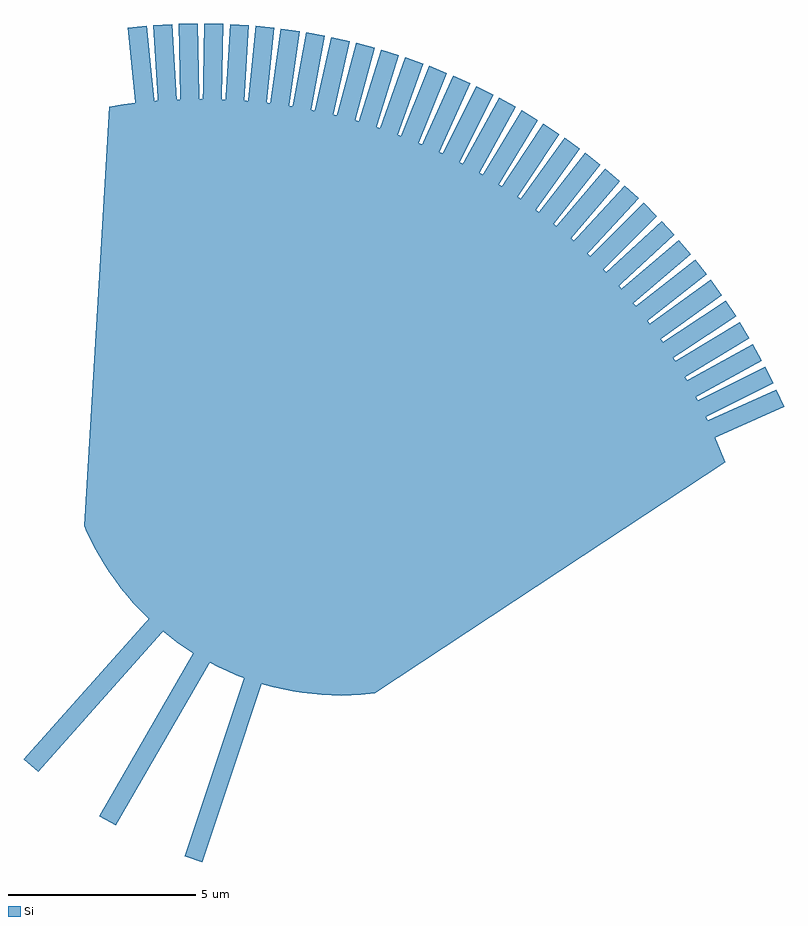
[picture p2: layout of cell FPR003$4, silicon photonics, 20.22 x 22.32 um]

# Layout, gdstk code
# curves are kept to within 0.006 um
from math import pi, radians
import gdstk
lib = gdstk.Library(unit=1e-6, precision=1e-09)
def R(c, l, rs):  # rectangles x0, y0, x1, y1
    for r in rs: c.add(gdstk.rectangle(r[:2], r[2:], *l))
def P(c, l, *ps):  # polygons
    for p in ps: c.add(gdstk.Polygon(p, *l))
Si = (1, 0)

taper006_4 = lib.new_cell('taper006$4')
R(taper006_4, Si, [(-2,-0.25,2.5,0.25)])

boolean004_4 = lib.new_cell('boolean004$4')
P(boolean004_4, Si, [(4.042,-9.461),(-5.95,-4.465),(-6.168,-4.16),(-6.309,-3.943),(-6.569,-3.493),(-6.797,-3.026),(-6.991,-2.545),(-7.076,-2.299),(-7.219,-1.8),(-7.327,-1.292),(-7.368,-1.035),(-7.422,-0.519),(-7.44,0),(-7.422,0.519),(-7.368,1.035),(-7.327,1.292),(-7.219,1.8),(-7.076,2.299),(-6.991,2.545),(-6.797,3.026),(-6.569,3.493),(-6.309,3.943),(-6.168,4.16),(-5.95,4.465),(4.042,9.461),(4.286,9.161),(4.598,8.746),(4.896,8.321),(5.179,7.885),(5.446,7.44),(5.698,6.986),(5.934,6.523),(6.154,6.052),(6.356,5.574),(6.543,5.089),(6.712,4.598),(6.864,4.101),(6.998,3.6),(7.115,3.094),(7.214,2.584),(7.295,2.071),(7.358,1.555),(7.404,1.038),(7.431,0.519),(7.44,0),(7.431,-0.519),(7.404,-1.038),(7.358,-1.555),(7.295,-2.071),(7.214,-2.584),(7.115,-3.094),(6.998,-3.6),(6.864,-4.101),(6.712,-4.598),(6.543,-5.089),(6.356,-5.574),(6.154,-6.052),(5.934,-6.523),(5.698,-6.986),(5.446,-7.44),(5.179,-7.885),(4.896,-8.321),(4.598,-8.746),(4.286,-9.161)])

taper005_4 = lib.new_cell('taper005$4')
R(taper005_4, Si, [(-5,-0.25,2.5,0.25)])

fpr003_4 = lib.new_cell('FPR003$4')
fpr003_4.add(gdstk.Reference(taper006_4, (21.014,-0.346), rotation=radians(204.1877)))
fpr003_4.add(gdstk.Reference(taper006_4, (20.478,0.727), rotation=radians(208.8087)))
fpr003_4.add(gdstk.Reference(taper006_4, (20.179,1.247), rotation=radians(211.1191)))
fpr003_4.add(gdstk.Reference(taper006_4, (19.858,1.754), rotation=radians(213.4296)))
fpr003_4.add(gdstk.Reference(taper006_4, (10.704,8.074), rotation=radians(257.3285)))
fpr003_4.add(gdstk.Reference(boolean004_4, (11.16,0), rotation=radians(60), x_reflection=True))
fpr003_4.add(gdstk.Reference(taper006_4, (8.928,8.362), rotation=radians(264.2599)))
fpr003_4.add(gdstk.Reference(taper006_4, (8.33,8.41), rotation=radians(266.5704)))
fpr003_4.add(gdstk.Reference(taper006_4, (5.933,8.36), rotation=radians(275.8123)))
fpr003_4.add(gdstk.Reference(taper006_4, (16.139,5.629), rotation=radians(234.2238)))
fpr003_4.add(gdstk.Reference(taper006_4, (10.116,8.194), rotation=radians(259.639)))
fpr003_4.add(gdstk.Reference(taper006_4, (9.524,8.29), rotation=radians(261.9495)))
fpr003_4.add(gdstk.Reference(taper006_4, (7.131,8.434), rotation=radians(271.1913)))
fpr003_4.add(gdstk.Reference(taper006_4, (14.619,6.591), rotation=radians(241.1552)))
fpr003_4.add(gdstk.Reference(taper006_4, (11.287,7.931), rotation=radians(255.0181)))
fpr003_4.add(gdstk.Reference(taper005_4, (8.808,-7.058), rotation=radians(71.5712), x_reflection=True))
fpr003_4.add(gdstk.Reference(taper005_4, (7.44,-6.443), rotation=radians(60), x_reflection=True))
fpr003_4.add(gdstk.Reference(taper006_4, (17.965,4.075), rotation=radians(224.9819)))
fpr003_4.add(gdstk.Reference(taper006_4, (16.619,5.269), rotation=radians(231.9134)))
fpr003_4.add(gdstk.Reference(taper006_4, (7.731,8.434), rotation=radians(268.8809)))
fpr003_4.add(gdstk.Reference(taper005_4, (6.223,-5.566), rotation=radians(48.4288), x_reflection=True))
fpr003_4.add(gdstk.Reference(taper006_4, (11.863,7.764), rotation=radians(252.7076)))
fpr003_4.add(gdstk.Reference(taper006_4, (12.993,7.362), rotation=radians(248.0866)))
fpr003_4.add(gdstk.Reference(taper006_4, (15.645,5.97), rotation=radians(236.5343)))
fpr003_4.add(gdstk.Reference(taper006_4, (12.432,7.574), rotation=radians(250.3971)))
fpr003_4.add(gdstk.Reference(taper006_4, (20.757,0.196), rotation=radians(206.4982)))
fpr003_4.add(gdstk.Reference(taper006_4, (13.545,7.127), rotation=radians(245.7762)))
fpr003_4.add(gdstk.Reference(taper006_4, (14.087,6.869), rotation=radians(243.4657)))
fpr003_4.add(gdstk.Reference(taper006_4, (19.518,2.248), rotation=radians(215.7401)))
fpr003_4.add(gdstk.Reference(taper006_4, (15.138,6.291), rotation=radians(238.8448)))
fpr003_4.add(gdstk.Reference(taper006_4, (17.083,4.889), rotation=radians(229.6029)))
fpr003_4.add(gdstk.Reference(taper006_4, (19.158,2.728), rotation=radians(218.0505)))
fpr003_4.add(gdstk.Reference(taper006_4, (17.532,4.491), rotation=radians(227.2924)))
fpr003_4.add(gdstk.Reference(taper006_4, (18.381,3.642), rotation=radians(222.6715)))
fpr003_4.add(gdstk.Reference(taper006_4, (6.531,8.409), rotation=radians(273.5018)))
fpr003_4.add(gdstk.Reference(taper006_4, (18.778,3.193), rotation=radians(220.361)))

lib.write_gds('FPR003_4.gds')
